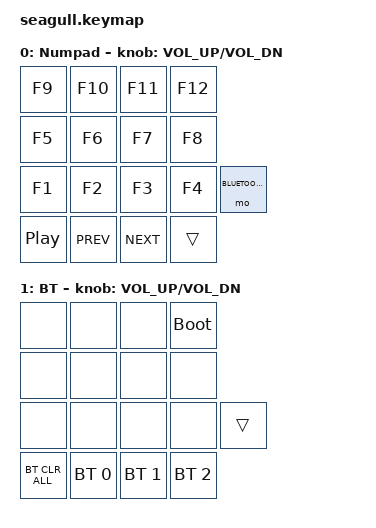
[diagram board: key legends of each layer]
#include <behaviors.dtsi>
#include <dt-bindings/zmk/bt.h>
#include <dt-bindings/zmk/keys.h>

#define NUMPAD 0
#define BLUETOOTH 1

/ {
    combos {
        compatible = "zmk,combos";

        pwd {
            bindings = <&pwd>;
            key-positions = <13 16>;
        };
    };

    macros {
        pwd: pwd {
            compatible = "zmk,behavior-macro";
            #binding-cells = <0>;
            bindings = <&kp S &kp X &kp N &kp LS(N) &kp O &kp Y &kp LS(A) &kp LS(P) &kp HASH &kp J &kp N9 &kp N5 &kp LS(G) &kp P &kp STAR &kp LS(X)>;
            label = "PWD";
        };
    };

    keymap {
        compatible = "zmk,keymap";

        layer_numpad {
            display-name = "Numpad";
            bindings = <
&kp F9            &kp F10     &kp F11     &kp F12
&kp F5            &kp F6      &kp F7      &kp F8
&kp F1            &kp F2      &kp F3      &kp F4   &mo BLUETOOTH
&kp C_PLAY_PAUSE  &kp C_PREV  &kp C_NEXT  &trans
            >;

            sensor-bindings = <&inc_dec_kp C_VOL_UP C_VOL_DN>;
        };

        layer_bluetooth {
            display-name = "BT";
            bindings = <
&none           &none         &none         &bootloader
&none           &none         &none         &none
&none           &none         &none         &none         &trans
&bt BT_CLR_ALL  &bt BT_SEL 0  &bt BT_SEL 1  &bt BT_SEL 2
            >;

            sensor-bindings = <&inc_dec_kp C_VOL_UP C_VOL_DN>;
        };
    };
};
